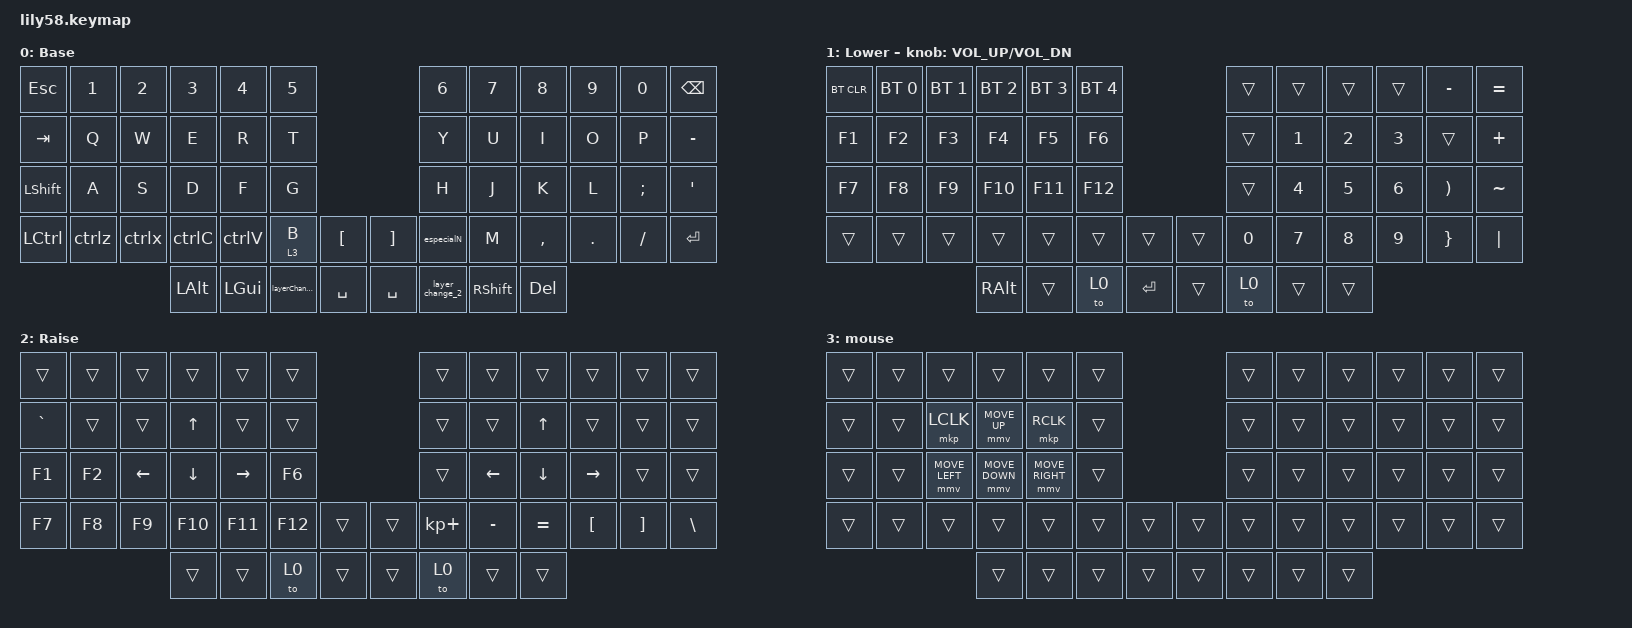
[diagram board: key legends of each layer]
/*
 * Copyright (c) 2020 The ZMK Contributors
 *
 * SPDX-License-Identifier: MIT
 */

#include <behaviors.dtsi>
#include <dt-bindings/zmk/bt.h>
#include <dt-bindings/zmk/keys.h>
#include <dt-bindings/zmk/pointing.h>

/ {
    behaviors {
        layerChange1: layerChange1 {
            compatible = "zmk,behavior-tap-dance";
            label = "LAYERCHANGE1";
            #binding-cells = <0>;
            bindings = <&mo 1>, <&to 1>;
        };

        ctrlC: ctrlC {
            compatible = "zmk,behavior-tap-dance";
            label = "CTRLC";
            #binding-cells = <0>;
            bindings = <&kp C>, <&kp LC(C)>;
        };

        ctrlV: ctrlV {
            compatible = "zmk,behavior-tap-dance";
            label = "CTRLV";
            #binding-cells = <0>;
            bindings = <&kp V>, <&kp LC(V)>;
        };

        layer_change_2: layer_change_2 {
            compatible = "zmk,behavior-tap-dance";
            label = "LAYER_CHANGE_2";
            #binding-cells = <0>;
            bindings = <&mo 2>, <&to 2>;
        };

        especialN: especialN {
            compatible = "zmk,behavior-tap-dance";
            label = "ESPECIALN";
            #binding-cells = <0>;
            bindings = <&kp N>, <&kp RA(N)>;
        };

        ctrlz: ctrlz {
            compatible = "zmk,behavior-tap-dance";
            label = "CTRLZ";
            #binding-cells = <0>;
            bindings = <&kp Z>, <&kp LC(Z)>;
        };

        ctrlx: ctrlx {
            compatible = "zmk,behavior-tap-dance";
            label = "CTRLX";
            #binding-cells = <0>;
            bindings = <&kp X>, <&kp LC(X)>;
        };
    };

    keymap {
        compatible = "zmk,keymap";

        default_layer {
            // ------------------------------------------------------------------------------------------------------------
            // |  ESC  |  1  |  2  |  3   |  4   |  5   |                   |  6   |  7    |  8    |  9   |   0   |   `   |
            // |  TAB  |  Q  |  W  |  E   |  R   |  T   |                   |  Y   |  U    |  I    |  O   |   P   |   -   |
            // |  CTRL |  A  |  S  |  D   |  F   |  G   |                   |  H   |  J    |  K    |  L   |   ;   |   '   |
            // | SHIFT |  Z  |  X  |  C   |  V   |  B   |   "["  |  |  "]"  |  N   |  M    |  ,    |  .   |   /   | SHIFT |
            //                     | ALT  | GUI  | LOWER|  SPACE |  | ENTER | RAISE| BSPC  | GUI   |

            display-name = "Base";
            bindings = <
&kp ESC         &kp N1  &kp N2  &kp N3    &kp N4    &kp N5                                 &kp N6           &kp N7     &kp N8     &kp N9   &kp N0    &kp BACKSPACE
&kp TAB         &kp Q   &kp W   &kp E     &kp R     &kp T                                  &kp Y            &kp U      &kp I      &kp O    &kp P     &kp MINUS
&kp LEFT_SHIFT  &kp A   &kp S   &kp D     &kp F     &kp G                                  &kp H            &kp J      &kp K      &kp L    &kp SEMI  &kp SQT
&kp LCTRL       &ctrlz  &ctrlx  &ctrlC    &ctrlV    &lt 3 B        &kp LBKT     &kp RBKT   &especialN       &kp M      &kp COMMA  &kp DOT  &kp FSLH  &kp ENTER
                                &kp LALT  &kp LGUI  &layerChange1  &kp SPACE    &kp SPACE  &layer_change_2  &kp RSHFT  &kp DEL
            >;
        };

        lower_layer {
            // ------------------------------------------------------------------------------------------------------------
            // | BTCLR | BT1 | BT2 |  BT3 |  BT4 |  BT5 |                   |      |       |       |      |       |       |
            // |  F1   |  F2 |  F3 |  F4  |  F5  |  F6  |                   |  F7  |  F8   |  F9   |  F10 |  F11  |  F12  |
            // |   `   |  !  |  @  |  #   |  $   |  %   |                   |  ^   |  &    |  *    |  (   |   )   |   ~   |
            // |       |     |     |      |      |      |        |  |       |      |  _    |  +    |  {   |   }   |  "|"  |
            //                     |      |      |      |        |  |       |      |       |       |

            display-name = "Lower";
            bindings = <
&bt BT_CLR  &bt BT_SEL 0  &bt BT_SEL 1  &bt BT_SEL 2   &bt BT_SEL 3  &bt BT_SEL 4                       &trans        &trans        &trans        &trans        &kp MINUS  &kp EQUAL
&kp F1      &kp F2        &kp F3        &kp F4         &kp F5        &kp F6                             &trans        &kp NUMBER_1  &kp NUMBER_2  &kp NUMBER_3  &trans     &kp PLUS
&kp F7      &kp F8        &kp F9        &kp F10        &kp F11       &kp F12                            &trans        &kp NUMBER_4  &kp N5        &kp NUMBER_6  &kp RPAR   &kp TILDE
&trans      &trans        &trans        &trans         &trans        &trans        &trans       &trans  &kp NUMBER_0  &kp NUMBER_7  &kp N8        &kp N9        &kp RBRC   &kp PIPE
                                        &kp RIGHT_ALT  &trans        &to 0         &kp ENTER    &trans  &to 0         &trans        &trans
            >;

            sensor-bindings = <&inc_dec_kp C_VOL_UP C_VOL_DN>;
        };

        raise_layer {
            // ------------------------------------------------------------------------------------------------------------
            // |       |     |     |      |      |      |                   |      |       |       |      |       |       |
            // |   `   |  1  |  2  |  3   |  4   |  5   |                   |  6   |   7   |   8   |  9   |   0   |       |
            // |   F1  |  F2 |  F3 |  F4  |  F5  |  F6  |                   |      |   <-  |   v   |  ^   |  ->   |       |
            // |   F7  |  F8 |  F9 |  F10 |  F11 |  F12 |        |  |       |  +   |   -   |   =   |  [   |   ]   |   \   |
            //                     |      |      |      |        |  |       |      |       |       |

            display-name = "Raise";
            bindings = <
&trans     &trans  &trans    &trans          &trans     &trans                     &trans       &trans     &trans        &trans     &trans    &trans
&kp GRAVE  &trans  &trans    &kp UP_ARROW    &trans     &trans                     &trans       &trans     &kp UP_ARROW  &trans     &trans    &trans
&kp F1     &kp F2  &kp LEFT  &kp DOWN_ARROW  &kp RIGHT  &kp F6                     &trans       &kp LEFT   &kp DOWN      &kp RIGHT  &trans    &trans
&kp F7     &kp F8  &kp F9    &kp F10         &kp F11    &kp F12  &trans    &trans  &kp KP_PLUS  &kp MINUS  &kp EQUAL     &kp LBKT   &kp RBKT  &kp BSLH
                             &trans          &trans     &to 0    &trans    &trans  &to 0        &trans     &trans
            >;
        };

        mouse {
            bindings = <
&trans  &trans  &trans          &trans          &trans           &trans                    &trans  &trans  &trans  &trans  &trans  &trans
&trans  &trans  &mkp LCLK       &mmv MOVE_UP    &mkp RCLK        &trans                    &trans  &trans  &trans  &trans  &trans  &trans
&trans  &trans  &mmv MOVE_LEFT  &mmv MOVE_DOWN  &mmv MOVE_RIGHT  &trans                    &trans  &trans  &trans  &trans  &trans  &trans
&trans  &trans  &trans          &trans          &trans           &trans  &trans    &trans  &trans  &trans  &trans  &trans  &trans  &trans
                                &trans          &trans           &trans  &trans    &trans  &trans  &trans  &trans
            >;
        };

        extra_1 { status = "reserved"; };

        extra_2 { status = "reserved"; };

        extra_3 { status = "reserved"; };
    };
};
